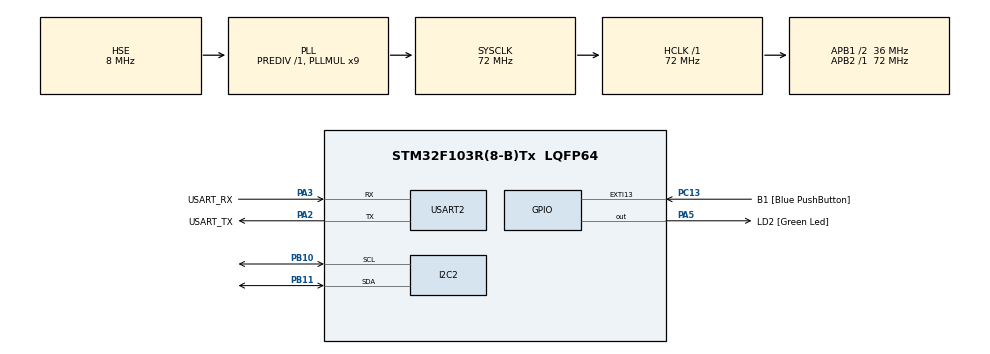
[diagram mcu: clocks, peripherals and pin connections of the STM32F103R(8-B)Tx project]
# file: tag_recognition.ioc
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Mcu.Family=STM32F1
Mcu.Name=STM32F103R(8-B)Tx
Mcu.Package=LQFP64
NVIC.EXTI15_10_IRQn=true\:0\:0\:false\:false\:true\:true\:true\:true
NVIC.PriorityGroup=NVIC_PRIORITYGROUP_4
PA13.GPIO_Label=TMS
PA13.Mode=Serial_Wire
PA13.Signal=SYS_JTMS-SWDIO
PA14.GPIO_Label=TCK
PA14.Mode=Serial_Wire
PA14.Signal=SYS_JTCK-SWCLK
PA2.GPIO_Label=USART_TX
PA2.GPIO_Mode=GPIO_MODE_AF_PP
PA2.GPIO_PuPd=GPIO_NOPULL
PA2.GPIO_Speed=GPIO_SPEED_FREQ_LOW
PA2.Mode=Asynchronous
PA2.Signal=USART2_TX
PA3.GPIO_Label=USART_RX
PA3.GPIO_Mode=GPIO_MODE_AF_PP
PA3.GPIO_PuPd=GPIO_NOPULL
PA3.GPIO_Speed=GPIO_SPEED_FREQ_LOW
PA3.Mode=Asynchronous
PA3.Signal=USART2_RX
PA5.GPIO_Label=LD2 [Green Led]
PA5.GPIO_ModeDefaultOutputPP=GPIO_MODE_OUTPUT_PP
PA5.GPIO_PuPd=GPIO_NOPULL
PA5.GPIO_Speed=GPIO_SPEED_FREQ_LOW
PA5.Signal=GPIO_Output
PB10.Mode=I2C
PB10.Signal=I2C2_SCL
PB11.Mode=I2C
PB11.Signal=I2C2_SDA
PB3.GPIO_Label=SWO
PB3.Signal=SYS_JTDO-TRACESWO
PC13-TAMPER-RTC.GPIO_Label=B1 [Blue PushButton]
PC13-TAMPER-RTC.GPIO_PuPd=GPIO_NOPULL
PC13-TAMPER-RTC.Signal=GPXTI13
PC14-OSC32_IN.Mode=LSE-External-Oscillator
PC14-OSC32_IN.Signal=RCC_OSC32_IN
PC15-OSC32_OUT.Mode=LSE-External-Oscillator
PC15-OSC32_OUT.Signal=RCC_OSC32_OUT
PD0-OSC_IN.Mode=HSE-External-Clock-Source
PD0-OSC_IN.Signal=RCC_OSC_IN
PD1-OSC_OUT.Mode=HSE-External-Clock-Source
PD1-OSC_OUT.Signal=RCC_OSC_OUT
ProjectManager.HeapSize=0x200
ProjectManager.StackSize=0x400
ProjectManager.TargetToolchain=STM32CubeIDE
RCC.AHBFreq_Value=72000000
RCC.APB1CLKDivider=RCC_HCLK_DIV2
RCC.APB1Freq_Value=36000000
RCC.APB1TimFreq_Value=72000000
RCC.APB2Freq_Value=72000000
RCC.APB2TimFreq_Value=72000000
RCC.HCLKFreq_Value=72000000
RCC.PLLMUL=RCC_PLL_MUL9
RCC.PLLSourceVirtual=RCC_PLLSOURCE_HSE
RCC.RTCClockSelection=RCC_RTCCLKSOURCE_LSE
RCC.SYSCLKFreq_VALUE=72000000
RCC.SYSCLKSource=RCC_SYSCLKSOURCE_PLLCLK
RCC.USBFreq_Value=72000000
USART2.VirtualMode=VM_ASYNC
board=NUCLEO-F103RB

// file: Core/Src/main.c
/* USER CODE BEGIN Header */
/**
  ******************************************************************************
  * @file           : main.c
  * @brief          : Main program body
  ******************************************************************************
  * @attention
  *
  * Copyright (c) 2025 STMicroelectronics.
  * All rights reserved.
  *
  * This software is licensed under terms that can be found in the LICENSE file
  * in the root directory of this software component.
  * If no LICENSE file comes with this software, it is provided AS-IS.
  *
  ******************************************************************************
  */
/* USER CODE END Header */
#include "main.h"

/* USER CODE BEGIN Includes */
#include <stdio.h>
/* USER CODE END Includes */

I2C_HandleTypeDef hi2c2;

UART_HandleTypeDef huart2;

/* USER CODE BEGIN PV */
int16_t corx = 0;
int16_t cory = 0;

uint8_t husky_tx[8] = {0x55, 0xAA, 0x03, 0x00, 0x27, 0x01, 0x00, 0x28};  //

uint8_t husky_rx[30];
/* USER CODE END PV */

void SystemClock_Config(void);
static void MX_GPIO_Init(void);
static void MX_USART2_UART_Init(void);
static void MX_I2C2_Init(void);
/* USER CODE BEGIN PFP */
int __io_putchar(int ch) {
    HAL_UART_Transmit(&huart2, (uint8_t *)&ch, 1, HAL_MAX_DELAY);
    return ch;
}

/* USER CODE END PFP */

int main(void)
{

  /* MCU Configuration--------------------------------------------------------*/

  /* Reset of all peripherals, Initializes the Flash interface and the Systick. */
  HAL_Init();

  /* Configure the system clock */
  SystemClock_Config();

  /* Initialize all configured peripherals */
  MX_GPIO_Init();
  MX_USART2_UART_Init();
  MX_I2C2_Init();
  /* USER CODE BEGIN 2 */
  printf("Hello from STM32! \n");

  /* USER CODE END 2 */

  /* Infinite loop */
  /* USER CODE BEGIN WHILE */
  while (1)
  {	  t_ok = HAL_I2C_Master_Transmit(&hi2c2, 0x32 << 1, husky_tx, sizeof(husky_tx), HAL_MAX_DELAY);
  	  r_ok = HAL_I2C_Master_Receive(&hi2c2, 0x32 << 1, husky_rx, sizeof(husky_rx), HAL_MAX_DELAY);
	  if (t_ok == HAL_OK)
	  {
	      if (r_ok == HAL_OK)
	      {
	    	  printf("RAW: ");
	    	  for (int i = 0; i < 30; i++) {
	    	      printf("%02X ", husky_rx[i]);
	    	  }
	    	  printf("\n");

	          // 프레임 시작 확인
	          if (husky_rx[0] == 0x55 && husky_rx[1] == 0xAA)
	          {
	              // 체크섬 계산
	              uint8_t length = husky_rx[2];
	              uint8_t expected_checksum = husky_rx[4 + length];
	              uint8_t calculated_checksum = 0;
	              for (int i = 4; i < 4 + length; i++)
	                  calculated_checksum += husky_rx[i];

	              if (calculated_checksum == expected_checksum)
	              {
	                  // 좌표 추출
	                  corx = husky_rx[8] | (husky_rx[9] << 8);
	                  cory = husky_rx[10] | (husky_rx[11] << 8);
	                  printf("x: %d, y: %d \n", corx, cory);
	              }
	              else
	              {
	                  printf("Checksum error \n");
	              }
	          }
	          else
	          {
	              printf("Invalid frame \n");
	          }
	      }
	      else
	      {
	          printf("Failed to receive from HuskyLens \n");
	      }
	  }
	  else
	  {
	      printf("Failed to transmit to HuskyLens \n");
	  }

	  HAL_Delay(1000);  // 100ms 주기로 요청

    /* USER CODE END WHILE */

  }
}

void SystemClock_Config(void)
{
  RCC_OscInitTypeDef RCC_OscInitStruct = {0};
  RCC_ClkInitTypeDef RCC_ClkInitStruct = {0};

  /** Initializes the RCC Oscillators according to the specified parameters
  * in the RCC_OscInitTypeDef structure.
  */
  RCC_OscInitStruct.OscillatorType = RCC_OSCILLATORTYPE_HSE;
  RCC_OscInitStruct.HSEState = RCC_HSE_BYPASS;
  RCC_OscInitStruct.HSEPredivValue = RCC_HSE_PREDIV_DIV1;
  RCC_OscInitStruct.HSIState = RCC_HSI_ON;
  RCC_OscInitStruct.PLL.PLLState = RCC_PLL_ON;
  RCC_OscInitStruct.PLL.PLLSource = RCC_PLLSOURCE_HSE;
  RCC_OscInitStruct.PLL.PLLMUL = RCC_PLL_MUL9;
  if (HAL_RCC_OscConfig(&RCC_OscInitStruct) != HAL_OK)
  {
    Error_Handler();
  }

  /** Initializes the CPU, AHB and APB buses clocks
  */
  RCC_ClkInitStruct.ClockType = RCC_CLOCKTYPE_HCLK|RCC_CLOCKTYPE_SYSCLK
                              |RCC_CLOCKTYPE_PCLK1|RCC_CLOCKTYPE_PCLK2;
  RCC_ClkInitStruct.SYSCLKSource = RCC_SYSCLKSOURCE_PLLCLK;
  RCC_ClkInitStruct.AHBCLKDivider = RCC_SYSCLK_DIV1;
  RCC_ClkInitStruct.APB1CLKDivider = RCC_HCLK_DIV2;
  RCC_ClkInitStruct.APB2CLKDivider = RCC_HCLK_DIV1;

  if (HAL_RCC_ClockConfig(&RCC_ClkInitStruct, FLASH_LATENCY_2) != HAL_OK)
  {
    Error_Handler();
  }
}

static void MX_I2C2_Init(void)
{

  hi2c2.Instance = I2C2;
  hi2c2.Init.ClockSpeed = 100000;
  hi2c2.Init.DutyCycle = I2C_DUTYCYCLE_2;
  hi2c2.Init.OwnAddress1 = 0;
  hi2c2.Init.AddressingMode = I2C_ADDRESSINGMODE_7BIT;
  hi2c2.Init.DualAddressMode = I2C_DUALADDRESS_DISABLE;
  hi2c2.Init.OwnAddress2 = 0;
  hi2c2.Init.GeneralCallMode = I2C_GENERALCALL_DISABLE;
  hi2c2.Init.NoStretchMode = I2C_NOSTRETCH_DISABLE;
  if (HAL_I2C_Init(&hi2c2) != HAL_OK)
  {
    Error_Handler();
  }

}

static void MX_USART2_UART_Init(void)
{

  huart2.Instance = USART2;
  huart2.Init.BaudRate = 115200;
  huart2.Init.WordLength = UART_WORDLENGTH_8B;
  huart2.Init.StopBits = UART_STOPBITS_1;
  huart2.Init.Parity = UART_PARITY_NONE;
  huart2.Init.Mode = UART_MODE_TX_RX;
  huart2.Init.HwFlowCtl = UART_HWCONTROL_NONE;
  huart2.Init.OverSampling = UART_OVERSAMPLING_16;
  if (HAL_UART_Init(&huart2) != HAL_OK)
  {
    Error_Handler();
  }

}

static void MX_GPIO_Init(void)
{
  GPIO_InitTypeDef GPIO_InitStruct = {0};

  /* GPIO Ports Clock Enable */
  __HAL_RCC_GPIOC_CLK_ENABLE();
  __HAL_RCC_GPIOD_CLK_ENABLE();
  __HAL_RCC_GPIOA_CLK_ENABLE();
  __HAL_RCC_GPIOB_CLK_ENABLE();

  /*Configure GPIO pin Output Level */
  HAL_GPIO_WritePin(LD2_GPIO_Port, LD2_Pin, GPIO_PIN_RESET);

  /*Configure GPIO pin : B1_Pin */
  GPIO_InitStruct.Pin = B1_Pin;
  GPIO_InitStruct.Mode = GPIO_MODE_IT_RISING;
  GPIO_InitStruct.Pull = GPIO_NOPULL;
  HAL_GPIO_Init(B1_GPIO_Port, &GPIO_InitStruct);

  /*Configure GPIO pin : LD2_Pin */
  GPIO_InitStruct.Pin = LD2_Pin;
  GPIO_InitStruct.Mode = GPIO_MODE_OUTPUT_PP;
  GPIO_InitStruct.Pull = GPIO_NOPULL;
  GPIO_InitStruct.Speed = GPIO_SPEED_FREQ_LOW;
  HAL_GPIO_Init(LD2_GPIO_Port, &GPIO_InitStruct);

  /* EXTI interrupt init*/
  HAL_NVIC_SetPriority(EXTI15_10_IRQn, 0, 0);
  HAL_NVIC_EnableIRQ(EXTI15_10_IRQn);

}

void Error_Handler(void)
{
  __disable_irq();
  while (1)
  {
  }
}
